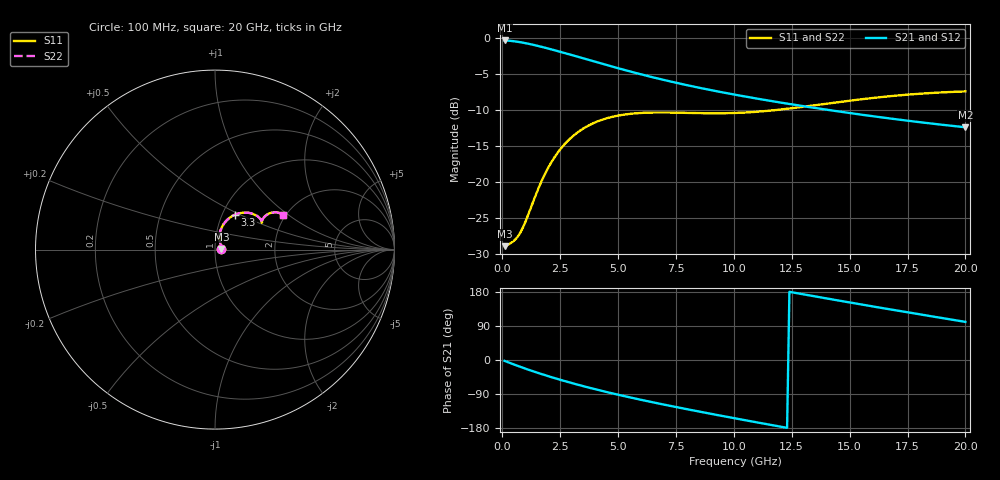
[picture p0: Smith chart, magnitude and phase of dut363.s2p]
! Touchstone file exported from HFSS 2024.1.0
!  File:  C:/UserFiles/LocalFiles/RDL_TSV_Batchsim/temp_RDL_TSV_363_1779640804.aedt
!  Generated:  12:57:27 AM May 25, 2026
!  Design:  RDL_TSV
!  Project:  temp_RDL_TSV_363_1779640804
!  Setup:  Setup1
!  Solution:  Sweep
! Variables:
!  dtsv = 14.49um
!  hbump = 3um
!  htsv = 72.76um
!  ldown = 529.34um
!  lrdl = 504.17um
!  p = 40
!  p1 = 52.97um
!  rhole = 10um
!  subl = 3604.7um
!  t = 450um
!  tdown = 2.61um
!  trdl = 2.02um
!  viad = 10um
!  wdown = 16.19um
!  wrdl = 14.76um
!  xbump = 18um
# GHz S MA R 50.000000
! Terminal data exported
! Port[1] = TM1_1_T1
! Port[2] = TM1_4_T1
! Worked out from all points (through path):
!   200 points, 100 MHz to 20 GHz, reference 50 ohm
!   highest |S21| = -0.32 dB at 100 MHz (marker M1); lowest = -12.4 dB at 20 GHz (marker M2)
!   group delay of S21, straight-line fit = 33.9 ps
!   lowest |S11| = -28.9 dB at 100 MHz (marker M3), VSWR 1.07, Z = 53.7 + j0.431 ohm
!   |S11| at or under -10 dB: start of sweep to 11.74 GHz
!   |S22| runs from -28.9 to -7.4 dB; largest |S21 - S12| = 5.6e-15
!   S11 on the Smith chart (normalised r, x): 100 MHz: 1.07, +0.01; 3.3 GHz: 1.15, +0.47; 20 GHz: 1.94, +0.92
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0.1  0.03605 6.4  0.9635 -2.4  0.9635 -2.4  0.03605 6.4
! Gamma 0 0 0 0
! Port Impedance 50 0 50 0
0.5  0.0393 30.3  0.9517 -11.8  0.9517 -11.8  0.03929 30.4
0.8  0.04536 48.6  0.9359 -18.5  0.9359 -18.5  0.04536 48.6
1.2  0.06444 66.7  0.909 -27.1  0.909 -27.1  0.0645 66.8
1.6  0.09394 73.4  0.8782 -35.2  0.8782 -35.2  0.09406 73.4
2  0.1276 73.2  0.8456 -43.0  0.8456 -43.0  0.1278 73.2
2.4  0.161 70.1  0.8124 -50.4  0.8124 -50.4  0.1612 70.1
2.8  0.1918 65.8  0.7795 -57.4  0.7795 -57.4  0.1921 65.8
3.3  0.2248 60.0  0.7394 -65.8  0.7394 -65.8  0.2252 60.0
3.5  0.2362 57.7  0.7239 -69.1  0.7239 -69.1  0.2365 57.7
4.3  0.2713 49.3  0.665 -81.5  0.665 -81.5  0.2717 49.3
5.1  0.292 42.4  0.6122 -93.0  0.6122 -93.0  0.2924 42.4
5.9  0.3021 37.1  0.5659 -103.9  0.5659 -103.9  0.3025 37.1
6.8  0.3051 33.0  0.5208 -115.4  0.5208 -115.4  0.3055 32.9
8.4  0.302 29.8  0.4563 -134.9  0.4563 -134.9  0.3023 29.7
10.1  0.3028 30.6  0.4037 -154.5  0.4037 -154.5  0.303 30.5
11.7  0.3157 32.6  0.3643 -172.5  0.3643 -172.5  0.3158 32.5
13.4  0.3406 33.9  0.3297 169.0  0.3297 169.0  0.3405 33.8
15  0.3682 33.5  0.3023 151.9  0.3023 151.9  0.3678 33.4
16.7  0.395 31.8  0.2777 134.1  0.2777 134.1  0.3945 31.7
18.3  0.4143 29.5  0.2581 117.7  0.2581 117.7  0.4136 29.4
20  0.427 27.0  0.2408 100.6  0.2408 100.6  0.4262 26.9
